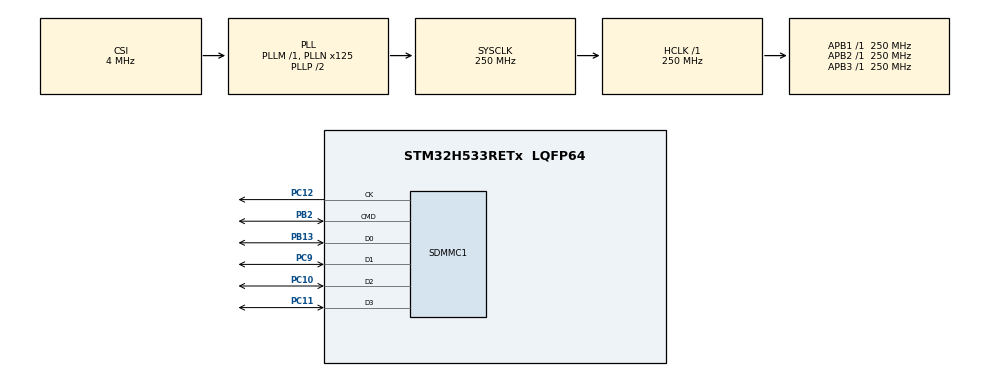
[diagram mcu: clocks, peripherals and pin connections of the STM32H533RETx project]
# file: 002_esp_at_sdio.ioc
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BOOTPATH.BootPathName=LEGACY
BOOTPATH.UserSelectedBootPath=LEGACY
CORTEX_M33_NS.Number-Cortex_Memory_Protection_Unit_Region0_OTP_RO_AREAS_Settings=MPU_REGION_NUMBER0
CORTEX_M33_NS.default_mode_Activation=1
CORTEX_M33_NS.userName=CORTEX_M33
Mcu.Family=STM32H5
Mcu.Name=STM32H533RETx
Mcu.Package=LQFP64
NUCLEO-H533RE.BUTTON=1
NUCLEO-H533RE.LD4=true
NUCLEO-H533RE.VCP=true
NVIC.EXTI13_IRQn=true\:0\:0\:false\:false\:true\:false\:true\:true
NVIC.PriorityGroup=NVIC_PRIORITYGROUP_4
NVIC.SDMMC1_IRQn=true\:0\:0\:false\:false\:true\:true\:true\:true
PA13(JTMS/SWDIO).GPIO_Label=SWDIO
PA13(JTMS/SWDIO).Mode=JTAG_4_pins
PA13(JTMS/SWDIO).Signal=DEBUG_JTMS-SWDIO
PA14(JTCK/SWCLK).GPIO_Label=SWCLK
PA14(JTCK/SWCLK).Mode=JTAG_4_pins
PA14(JTCK/SWCLK).Signal=DEBUG_JTCK-SWCLK
PA15(JTDI).GPIO_Label=JTDI
PA15(JTDI).Mode=JTAG_4_pins
PA15(JTDI).Signal=DEBUG_JTDI
PA2.Signal=USART2_TX
PA3.Signal=USART2_RX
PB13.Mode=SD_4_bits_Wide_bus
PB13.Signal=SDMMC1_D0
PB2.Mode=SD_4_bits_Wide_bus
PB2.Signal=SDMMC1_CMD
PB3(JTDO/TRACESWO).GPIO_Label=SWO
PB3(JTDO/TRACESWO).Mode=JTAG_4_pins
PB3(JTDO/TRACESWO).Signal=DEBUG_JTDO-SWO
PC10.Mode=SD_4_bits_Wide_bus
PC10.Signal=SDMMC1_D2
PC11.Mode=SD_4_bits_Wide_bus
PC11.Signal=SDMMC1_D3
PC12.Mode=SD_4_bits_Wide_bus
PC12.Signal=SDMMC1_CK
PC9.Mode=SD_4_bits_Wide_bus
PC9.Signal=SDMMC1_D1
ProjectManager.HeapSize=0x200
ProjectManager.StackSize=0x400
ProjectManager.TargetToolchain=STM32CubeIDE
RCC.ADCFreq_Value=250000000
RCC.AHBFreq_Value=250000000
RCC.APB1Freq_Value=250000000
RCC.APB1TimFreq_Value=250000000
RCC.APB2Freq_Value=250000000
RCC.APB2TimFreq_Value=250000000
RCC.APB3Freq_Value=250000000
RCC.CSI_VALUE=4000000
RCC.CortexFreq_Value=250000000
RCC.EPOD_VALUE=4000000
RCC.HCLKFreq_Value=250000000
RCC.HSE_VALUE=25000000
RCC.HSI48_VALUE=48000000
RCC.HSI_VALUE=64000000
RCC.LSE_VALUE=32768
RCC.LSIRC_VALUE=32000
RCC.PLL2FRACN=0
RCC.PLL3FRACN=0
RCC.PLLFRACN=0
RCC.PLLN=125
RCC.SYSCLKFreq_VALUE=250000000
RCC.SYSCLKSource=RCC_SYSCLKSOURCE_PLLCLK
RCC.USBFreq_Value=48000000
RCC.VCOOutputFreq_Value=500000000
VP_BOOTPATH_VS_BOOTPATH.Mode=BP_Activate
VP_CORTEX_M33_NS_VS_Hclk.Mode=Hclk_Mode
VP_DCACHE1_VS_DCACHE.Mode=DCACHE_Activate
VP_ICACHE_VS_ICACHE.Mode=DirectMappedCache
VP_MEMORYMAP_VS_MEMORYMAP.Mode=CurAppReg
VP_NUCLEO-H533RE_VS_BSP_COMMON.Mode=COMMON
VP_PWR_VS_LPOM.Mode=PowerOptimisation
VP_PWR_VS_SECSignals.Mode=Security/Privilege
board=NUCLEO-H533RE

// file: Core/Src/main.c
/* USER CODE BEGIN Header */
/**
  ******************************************************************************
  * @file           : main.c
  * @brief          : Main program body
  ******************************************************************************
  * @attention
  *
  * Copyright (c) 2026 STMicroelectronics.
  * All rights reserved.
  *
  * This software is licensed under terms that can be found in the LICENSE file
  * in the root directory of this software component.
  * If no LICENSE file comes with this software, it is provided AS-IS.
  *
  ******************************************************************************
  */
/* USER CODE END Header */
#include "main.h"

/* USER CODE BEGIN Includes */
#include <string.h>
#include "sdio_host_transport.h"
#include "sdio_host_reg.h"
#include "sdio_host_log.h"
#include "sdio_driver_port.h"
/* USER CODE END Includes */

/* USER CODE BEGIN PD */
#define AT_CMD_BUF_LEN   256U   /* one AT command line from the console */
#define AT_RSP_BUF_LEN   4096U  /* one AT response chunk from the slave */
#define AT_RX_ERR_REINIT_COUNT  4U
/* AT+RESTORE answers "OK" before it erases NVS and restarts, so the link stays
   usable for a moment. Keep draining until AT_RESTORE_DRAIN_MS so that "OK"
   reaches the console, then leave the bus alone until AT_RESTORE_REINIT_MS -
   clocking a slave that is mid-reboot only produces noise. */
#define AT_RESTORE_DRAIN_MS     600U
#define AT_RESTORE_REINIT_MS    2500U
#define AT_REINIT_RETRY_MS      500U
/* Re-enumeration alone cannot rescue a slave that came up wedged; after this
   many soft attempts the recovery escalates to the ESP reset pin. */
#define AT_REINIT_HARD_RESET_AT 3U
/* A single pass never needs more than this many CMD53 reads. Purely a stop for
   a slave that keeps reporting a queue it never drains - without it the drain
   loop is the one place the console can hang for good. */
#define AT_RX_DRAIN_MAX_PKTS    64U

#define AT_RESTORE_IDLE         0U
#define AT_RESTORE_DRAINING     1U
#define AT_RESTORE_QUIET        2U
/* USER CODE END PD */

COM_InitTypeDef BspCOMInit;

DCACHE_HandleTypeDef hdcache1;

SD_HandleTypeDef hsd1;

/* USER CODE BEGIN PV */
/* CMD53 buffers: the SDIO port requires 4-byte alignment */
static uint8_t at_cmd_buf[AT_CMD_BUF_LEN] __attribute__((aligned(4)));
static uint8_t at_rsp_buf[AT_RSP_BUF_LEN] __attribute__((aligned(4)));

static volatile uint16_t at_cmd_len;
static volatile uint8_t  at_cmd_ready;
static uint16_t at_cmd_idx;
static uint8_t at_rx_err_count;
static uint8_t at_restore_state;
static uint8_t at_reinit_fail_count;
static uint32_t at_restore_drain_at;
static uint32_t at_restore_reinit_at;
/* USER CODE END PV */

void SystemClock_Config(void);
static void MPU_Config(void);
static void MX_GPIO_Init(void);
static void MX_DCACHE1_Init(void);
static void MX_ICACHE_Init(void);
static void MX_SDMMC1_SD_Init(void);

/* USER CODE BEGIN 0 */
static uint8_t AtUpper(uint8_t ch)
{
  if ((ch >= (uint8_t)'a') && (ch <= (uint8_t)'z'))
  {
    ch = (uint8_t)(ch - ((uint8_t)'a' - (uint8_t)'A'));
  }
  return ch;
}

/**
  * @brief Does this line make the slave restart out from under the host?
  *
  * AT+RESTORE erases the parameter area and reboots; AT+RST just reboots. Both
  * leave the SDIO link enumerated against a card that no longer exists, so both
  * have to be followed by a re-enumeration rather than by more traffic.
  *
  * @param buf  Command line, terminated with CRLF by the console handler.
  */
static uint8_t AtCommandRebootsSlave(const uint8_t *buf, uint16_t len)
{
  static const char *const cmds[] = { "AT+RESTORE", "AT+RST" };
  uint8_t c;

  for (c = 0U; c < (uint8_t)(sizeof(cmds) / sizeof(cmds[0])); c++)
  {
    uint16_t n = (uint16_t)strlen(cmds[c]);
    uint16_t i;

    /* The CRLF is part of the line, so an exact match is n + 2 long */
    if (len < (uint16_t)(n + 2U))
    {
      continue;
    }

    for (i = 0U; i < n; i++)
    {
      if (AtUpper(buf[i]) != (uint8_t)cmds[c][i])
      {
        break;
      }
    }

    if ((i == n) && ((buf[i] == (uint8_t)'\r') || (buf[i] == (uint8_t)'\n')))
    {
      return 1U;
    }
  }

  return 0U;
}

/**
  * @brief Bring the link back up after the slave has restarted underneath us.
  *
  * Re-enumeration on its own (CMD0/CMD5/CMD3/CMD7 with the ESP left running) is
  * what an AT+RESTORE needs and is the cheap case. It cannot help a slave that
  * booted into a bad state, so a run of failures falls back to sdio_host_init(),
  * which pulls the ESP reset pin - the one recovery that always terminates.
  */
static sdio_err_t AtSdioRecover(void)
{
  sdio_err_t err = sdio_host_reinit();

  if (err == SDIO_SUCCESS)
  {
    at_reinit_fail_count = 0U;
    return err;
  }

  at_reinit_fail_count++;

  if (at_reinit_fail_count >= AT_REINIT_HARD_RESET_AT)
  {
    printf("soft reinit failed %u times, resetting slave\r\n",
           (unsigned int)at_reinit_fail_count);
    at_reinit_fail_count = 0U;
    err = sdio_host_init();
  }

  return err;
}

/**
  * @brief Read queued packets out to the console until the slave reports none.
  *
  * @param quiet  Non-zero while the slave is on its way down after AT+RESTORE:
  *               a failed read there is expected, so it is neither reported nor
  *               counted towards the link-lost threshold.
  */
static void AtDrainRx(uint8_t quiet)
{
  uint32_t pkts;

  for (pkts = 0U; pkts < AT_RX_DRAIN_MAX_PKTS; pkts++)
  {
    size_t size_read = 0U;
    /* wait_ms = 1 makes sdio_host_get_packet() check once and return
       ERR_TIMEOUT when the slave has nothing queued. */
    sdio_err_t err = sdio_host_get_packet(at_rsp_buf, AT_RSP_BUF_LEN, &size_read, 1U);

    if ((err == ERR_TIMEOUT) || (err == ERR_NOT_FOUND))
    {
      if (quiet == 0U)
      {
        at_rx_err_count = 0U;
      }
      break;
    }

    if ((err != SDIO_SUCCESS) && (err != ERR_NOT_FINISHED))
    {
      if (quiet != 0U)
      {
        break;
      }

      /* Retried on the next pass rather than abandoned - the data is still
         queued at the slave and nothing else will come back for it. */
      printf("rx packet error: %d\r\n", (int)err);
      at_rx_err_count++;

      if (at_rx_err_count >= AT_RX_ERR_REINIT_COUNT)
      {
        printf("SDIO link lost, reinitializing...\r\n");

        if (AtSdioRecover() == SDIO_SUCCESS)
        {
          printf("Sdio reinit done\r\n");
          at_rx_err_count = 0U;
        }
        else
        {
          printf("SDIO reinit error\r\n");
          at_rx_err_count = AT_RX_ERR_REINIT_COUNT - 1U;
        }
      }
      break;
    }

    if (size_read != 0U)
    {
      (void)HAL_UART_Transmit(&hcom_uart[COM1], at_rsp_buf, (uint16_t)size_read, 1000U);
      at_rx_err_count = 0U;
    }
  }
}

/**
  * @brief Drive the wait-then-re-enumerate sequence that follows AT+RESTORE.
  *
  * @return Non-zero while the restore is still in progress, i.e. while the main
  *         loop must not send anything of its own.
  */
static uint8_t AtRestoreService(void)
{
  uint32_t now = HAL_GetTick();

  if (at_restore_state == AT_RESTORE_DRAINING)
  {
    if ((int32_t)(now - at_restore_drain_at) < 0)
    {
      /* The slave stops answering partway through this window, by design */
      sdio_driver_set_quiet(1U);
      AtDrainRx(1U);
      sdio_driver_set_quiet(0U);
      return 1U;
    }
    at_restore_state = AT_RESTORE_QUIET;
  }

  if ((int32_t)(now - at_restore_reinit_at) < 0)
  {
    return 1U;
  }

  printf("Reinitializing SDIO after slave restart...\r\n");

  if (AtSdioRecover() == SDIO_SUCCESS)
  {
    printf("Sdio reinit done\r\n");
    at_restore_state = AT_RESTORE_IDLE;
    at_rx_err_count = 0U;
    return 0U;
  }

  printf("SDIO reinit error\r\n");
  at_restore_reinit_at = HAL_GetTick() + AT_REINIT_RETRY_MS;
  return 1U;
}

/* USER CODE END 0 */

int main(void)
{

  /* MCU Configuration--------------------------------------------------------*/

  /* MPU Configuration--------------------------------------------------------*/
  MPU_Config();

  /* Reset of all peripherals, Initializes the Flash interface and the Systick. */
  HAL_Init();

  /* Configure the system clock */
  SystemClock_Config();

  /* Initialize all configured peripherals */
  MX_GPIO_Init();
  MX_DCACHE1_Init();
  MX_ICACHE_Init();
  MX_SDMMC1_SD_Init();
  /* USER CODE BEGIN 2 */
  /* Report MemManage/BusFault/UsageFault on their own vectors instead of
     letting them escalate into an anonymous HardFault */
  SCB->SHCSR |= SCB_SHCSR_USGFAULTENA_Msk |
                SCB_SHCSR_BUSFAULTENA_Msk |
                SCB_SHCSR_MEMFAULTENA_Msk;
  /* USER CODE END 2 */

  /* Initialize leds */
  BSP_LED_Init(LED_GREEN);

  /* Initialize USER push-button, will be used to trigger an interrupt each time it's pressed.*/
  BSP_PB_Init(BUTTON_USER, BUTTON_MODE_EXTI);

  /* Initialize COM1 port (115200, 8 bits (7-bit data + 1 stop bit), no parity */
  BspCOMInit.BaudRate   = 115200;
  BspCOMInit.WordLength = COM_WORDLENGTH_8B;
  BspCOMInit.StopBits   = COM_STOPBITS_1;
  BspCOMInit.Parity     = COM_PARITY_NONE;
  BspCOMInit.HwFlowCtl  = COM_HWCONTROL_NONE;
  if (BSP_COM_Init(COM1, &BspCOMInit) != BSP_ERROR_NONE)
  {
    Error_Handler();
  }

  /* USER CODE BEGIN WHILE */
  BSP_COM_SelectLogPort(COM1);

  printf("\r\nhost ready, start initializing slave...\r\n");
  if (sdio_host_init() != SDIO_SUCCESS)
  {
    printf("SDIO init error\r\n");
    Error_Handler();
  }
  printf("Sdio init done\r\n");
  BSP_LED_On(LED_GREEN);

  /* Console echoes AT commands typed by the user into the SDIO link. RX is
     driven off the registers in USART2_IRQHandler(), not HAL_UART_Receive_IT():
     printf() blocks inside HAL_UART_Transmit() on the same handle and holds
     huart->Lock, which would make every re-arm from the ISR fail with
     HAL_UART_STATE_BUSY and silently kill the console. */
  __HAL_UART_CLEAR_FLAG(&hcom_uart[COM1], UART_CLEAR_OREF | UART_CLEAR_FEF |
                                          UART_CLEAR_NEF | UART_CLEAR_PEF);
  SET_BIT(COM1_UART->CR1, USART_CR1_RXNEIE_RXFNEIE);

  HAL_NVIC_SetPriority(USART2_IRQn, 5, 0);
  HAL_NVIC_EnableIRQ(USART2_IRQn);

  /* Infinite loop */
  while (1)
  {
    /* USER CODE END WHILE */

    /* USER CODE BEGIN 3 */
    if (at_restore_state != AT_RESTORE_IDLE)
    {
      if (AtRestoreService() != 0U)
      {
        continue;
      }
    }

    if (at_cmd_ready != 0U)
    {
      uint8_t reboots = AtCommandRebootsSlave(at_cmd_buf, at_cmd_len);
      sdio_err_t err = sdio_host_send_packet(at_cmd_buf, at_cmd_len);

      if (err == ERR_TIMEOUT)
      {
        printf("send timeout\r\n");
      }
      else if (err != SDIO_SUCCESS)
      {
        printf("send error: %d\r\n", (int)err);
      }
      else if (reboots != 0U)
      {
        printf("reboot command sent, waiting for slave restart\r\n");
        at_restore_state = AT_RESTORE_DRAINING;
        at_restore_drain_at = HAL_GetTick() + AT_RESTORE_DRAIN_MS;
        at_restore_reinit_at = HAL_GetTick() + AT_RESTORE_REINIT_MS;
        at_rx_err_count = 0U;
        at_reinit_fail_count = 0U;
      }
      at_cmd_ready = 0U;
      if (at_restore_state != AT_RESTORE_IDLE)
      {
        continue;
      }
    }

    /* Slave pulls D1 low when it has a packet for us. The interrupt only
       shortens the idle wait - it is never the thing that decides whether to
       read, because it has to be cleared before the packet can be fetched. A
       read that fails after that point (one transient CRC on the length
       register is enough) leaves the queued packet with no edge left to
       announce it: the host stops draining, the slave's send queue fills, its
       token count stops advancing, and every later AT command ends in
       "buffer is not enough: 0, 1 required" for good. So the queue is polled
       on every pass and the interrupt is treated as a hint. */
    if (sdio_host_wait_int(10U) == SDIO_SUCCESS)
    {
      uint32_t intr_raw = 0U;
      uint32_t intr_st = 0U;

      if ((sdio_host_get_intr(&intr_raw, &intr_st) == SDIO_SUCCESS) && (intr_st != 0U))
      {
        (void)sdio_host_clear_intr(intr_raw);
      }
    }

    /* Drain until the slave reports nothing queued */
    AtDrainRx(0U);
  }
  /* USER CODE END 3 */
}

void SystemClock_Config(void)
{
  RCC_OscInitTypeDef RCC_OscInitStruct = {0};
  RCC_ClkInitTypeDef RCC_ClkInitStruct = {0};

  /** Configure the main internal regulator output voltage
  */
  __HAL_PWR_VOLTAGESCALING_CONFIG(PWR_REGULATOR_VOLTAGE_SCALE0);

  while(!__HAL_PWR_GET_FLAG(PWR_FLAG_VOSRDY)) {}

  /** Initializes the RCC Oscillators according to the specified parameters
  * in the RCC_OscInitTypeDef structure.
  */
  RCC_OscInitStruct.OscillatorType = RCC_OSCILLATORTYPE_CSI;
  RCC_OscInitStruct.CSIState = RCC_CSI_ON;
  RCC_OscInitStruct.CSICalibrationValue = RCC_CSICALIBRATION_DEFAULT;
  RCC_OscInitStruct.PLL.PLLState = RCC_PLL_ON;
  RCC_OscInitStruct.PLL.PLLSource = RCC_PLL1_SOURCE_CSI;
  RCC_OscInitStruct.PLL.PLLM = 1;
  RCC_OscInitStruct.PLL.PLLN = 125;
  RCC_OscInitStruct.PLL.PLLP = 2;
  RCC_OscInitStruct.PLL.PLLQ = 2;
  RCC_OscInitStruct.PLL.PLLR = 2;
  RCC_OscInitStruct.PLL.PLLRGE = RCC_PLL1_VCIRANGE_2;
  RCC_OscInitStruct.PLL.PLLVCOSEL = RCC_PLL1_VCORANGE_WIDE;
  RCC_OscInitStruct.PLL.PLLFRACN = 0;
  if (HAL_RCC_OscConfig(&RCC_OscInitStruct) != HAL_OK)
  {
    Error_Handler();
  }

  /** Initializes the CPU, AHB and APB buses clocks
  */
  RCC_ClkInitStruct.ClockType = RCC_CLOCKTYPE_HCLK|RCC_CLOCKTYPE_SYSCLK
                              |RCC_CLOCKTYPE_PCLK1|RCC_CLOCKTYPE_PCLK2
                              |RCC_CLOCKTYPE_PCLK3;
  RCC_ClkInitStruct.SYSCLKSource = RCC_SYSCLKSOURCE_PLLCLK;
  RCC_ClkInitStruct.AHBCLKDivider = RCC_SYSCLK_DIV1;
  RCC_ClkInitStruct.APB1CLKDivider = RCC_HCLK_DIV1;
  RCC_ClkInitStruct.APB2CLKDivider = RCC_HCLK_DIV1;
  RCC_ClkInitStruct.APB3CLKDivider = RCC_HCLK_DIV1;

  if (HAL_RCC_ClockConfig(&RCC_ClkInitStruct, FLASH_LATENCY_5) != HAL_OK)
  {
    Error_Handler();
  }

  /** Configure the programming delay
  */
  __HAL_FLASH_SET_PROGRAM_DELAY(FLASH_PROGRAMMING_DELAY_2);
}

static void MX_DCACHE1_Init(void)
{

  hdcache1.Instance = DCACHE1;
  hdcache1.Init.ReadBurstType = DCACHE_READ_BURST_WRAP;
  if (HAL_DCACHE_Init(&hdcache1) != HAL_OK)
  {
    Error_Handler();
  }

}

static void MX_ICACHE_Init(void)
{

  /** Enable instruction cache in 1-way (direct mapped cache)
  */
  if (HAL_ICACHE_ConfigAssociativityMode(ICACHE_1WAY) != HAL_OK)
  {
    Error_Handler();
  }
  if (HAL_ICACHE_Enable() != HAL_OK)
  {
    Error_Handler();
  }

}

static void MX_SDMMC1_SD_Init(void)
{

  /* USER CODE BEGIN SDMMC1_Init 0 */
  /* SDMMC1 is used in SDIO mode (ESP-AT slave), not as an SD card. The SD card
     identification below would fail and trap in Error_Handler(); the peripheral
     is brought up by sdio_driver_init() instead. */
  return;
  /* USER CODE END SDMMC1_Init 0 */

  hsd1.Instance = SDMMC1;
  hsd1.Init.ClockEdge = SDMMC_CLOCK_EDGE_RISING;
  hsd1.Init.ClockPowerSave = SDMMC_CLOCK_POWER_SAVE_DISABLE;
  hsd1.Init.BusWide = SDMMC_BUS_WIDE_4B;
  hsd1.Init.HardwareFlowControl = SDMMC_HARDWARE_FLOW_CONTROL_DISABLE;
  hsd1.Init.ClockDiv = 0;
  if (HAL_SD_Init(&hsd1) != HAL_OK)
  {
    Error_Handler();
  }

}

static void MX_GPIO_Init(void)
{

  /* GPIO Ports Clock Enable */
  __HAL_RCC_GPIOB_CLK_ENABLE();
  __HAL_RCC_GPIOC_CLK_ENABLE();
  __HAL_RCC_GPIOA_CLK_ENABLE();

}

/* USER CODE BEGIN 4 */
/**
  * @brief  Console RX: accumulate one AT command line, then hand it to the main
  *         loop. Kept short - the SDIO transfer happens outside.
  *
  * Either CR or LF ends the line; the CRLF that ESP-AT expects is appended here
  * so a terminal that sends only one of the two still works. Two bytes of head-
  * room are always kept for it.
  */
void AtConsoleRxIrq(void)
{
  uint32_t isr = COM1_UART->ISR;
  uint8_t ch;

  /* An uncleared ORE/FE/NE/PE would re-enter this handler forever */
  if ((isr & (USART_ISR_ORE | USART_ISR_FE | USART_ISR_NE | USART_ISR_PE)) != 0U)
  {
    COM1_UART->ICR = USART_ICR_ORECF | USART_ICR_FECF |
                     USART_ICR_NECF | USART_ICR_PECF;
  }

  if ((isr & USART_ISR_RXNE_RXFNE) == 0U)
  {
    return;
  }

  ch = (uint8_t)COM1_UART->RDR;

  /* Echo so the typed line is visible. Non-blocking on purpose: the SDIO
     polling loops in the main context must not be stalled by this handler. */
  if ((COM1_UART->ISR & USART_ISR_TXE_TXFNF) != 0U)
  {
    COM1_UART->TDR = ch;
  }

  /* Previous command not consumed yet: drop the byte rather than race main */
  if (at_cmd_ready != 0U)
  {
    return;
  }

  if ((ch == '\r') || (ch == '\n'))
  {
    if (at_cmd_idx == 0U)
    {
      return;   /* empty line, or the second half of a CRLF pair */
    }

    at_cmd_buf[at_cmd_idx] = '\r';
    at_cmd_buf[at_cmd_idx + 1U] = '\n';
    at_cmd_len = at_cmd_idx + 2U;
    at_cmd_idx = 0U;
    at_cmd_ready = 1U;
    return;
  }

  if ((ch == '\b') || (ch == 0x7FU))
  {
    if (at_cmd_idx != 0U)
    {
      at_cmd_idx--;
    }
    return;
  }

  /* Line too long: drop it and resynchronise on the next terminator */
  if (at_cmd_idx >= (AT_CMD_BUF_LEN - 2U))
  {
    at_cmd_idx = 0U;
    return;
  }

  at_cmd_buf[at_cmd_idx] = ch;
  at_cmd_idx++;
}

/**
  * @brief  Dump the fault status registers and the stacked exception frame.
  *
  * Writes straight to the USART data register: the HAL handle may be locked or
  * mid-transfer at the point of the fault, and printf() must not be re-entered
  * from a handler.
  */
static void FaultPutc(char c)
{
  while ((COM1_UART->ISR & USART_ISR_TXE_TXFNF) == 0U)
  {
  }
  COM1_UART->TDR = (uint8_t)c;
}

static void FaultPuts(const char *s)
{
  while (*s != '\0')
  {
    FaultPutc(*s);
    s++;
  }
}

static void FaultHex(const char *label, uint32_t v)
{
  static const char digits[] = "0123456789ABCDEF";
  int8_t i;

  FaultPuts(label);
  FaultPuts(" 0x");
  for (i = 28; i >= 0; i -= 4)
  {
    FaultPutc(digits[(v >> (uint8_t)i) & 0xFU]);
  }
  FaultPuts("\r\n");
}

void FaultReport(const uint32_t *sp, const char *name)
{
  const uint32_t *frame = NULL;
  uint32_t i;

  FaultPuts("\r\n*** ");
  FaultPuts(name);
  FaultPuts(" ***\r\n");

  FaultHex("CFSR ", SCB->CFSR);
  FaultHex("HFSR ", SCB->HFSR);
  FaultHex("MMFAR", SCB->MMFAR);
  FaultHex("BFAR ", SCB->BFAR);

  /* sp is the handler's SP after its own prologue, so walk up to the stacked
     frame: PC in flash and the xPSR Thumb bit set identify it. */
  for (i = 0U; i < 24U; i++)
  {
    uint32_t pc = sp[i + 6U];
    uint32_t psr = sp[i + 7U];

    if ((pc >= 0x08000000UL) && (pc < 0x08080000UL) && ((psr & 0x01000000UL) != 0U))
    {
      frame = &sp[i];
      break;
    }
  }

  if (frame == NULL)
  {
    FaultPuts("stack frame not found\r\n");
    return;
  }

  FaultHex("R0   ", frame[0]);
  FaultHex("R1   ", frame[1]);
  FaultHex("R2   ", frame[2]);
  FaultHex("R3   ", frame[3]);
  FaultHex("R12  ", frame[4]);
  FaultHex("LR   ", frame[5]);
  FaultHex("PC   ", frame[6]);
  FaultHex("xPSR ", frame[7]);
}
/* USER CODE END 4 */

 /* MPU Configuration */

void MPU_Config(void)
{
  MPU_Region_InitTypeDef MPU_InitStruct = {0};
  MPU_Attributes_InitTypeDef MPU_AttributesInit = {0};

  /* Disables the MPU */
  HAL_MPU_Disable();

  /** Initializes and configures the Region 0 and the memory to be protected
  */
  MPU_InitStruct.Enable = MPU_REGION_ENABLE;
  MPU_InitStruct.Number = MPU_REGION_NUMBER0;
  MPU_InitStruct.BaseAddress = 0x08FFF000;
  MPU_InitStruct.LimitAddress = 0x08FFFFFF;
  MPU_InitStruct.AttributesIndex = MPU_ATTRIBUTES_NUMBER0;
  MPU_InitStruct.AccessPermission = MPU_REGION_ALL_RO;
  MPU_InitStruct.DisableExec = MPU_INSTRUCTION_ACCESS_DISABLE;
  MPU_InitStruct.IsShareable = MPU_ACCESS_NOT_SHAREABLE;

  HAL_MPU_ConfigRegion(&MPU_InitStruct);

  /** Initializes and configures the Attribute 0 and the memory to be protected
  */
  MPU_AttributesInit.Number = MPU_ATTRIBUTES_NUMBER0;
  MPU_AttributesInit.Attributes = INNER_OUTER(MPU_NOT_CACHEABLE);

  HAL_MPU_ConfigMemoryAttributes(&MPU_AttributesInit);
  /* Enables the MPU */
  HAL_MPU_Enable(MPU_PRIVILEGED_DEFAULT);

}

void Error_Handler(void)
{
  __disable_irq();
  while (1)
  {
  }
}
